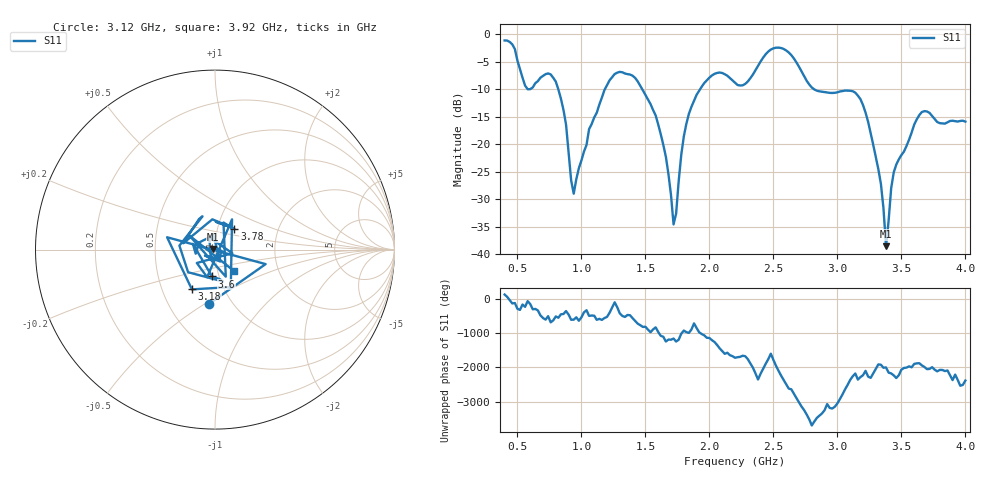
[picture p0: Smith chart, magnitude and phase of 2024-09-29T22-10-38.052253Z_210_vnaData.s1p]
!Created with skrf (http://scikit-rf.org).
# Hz S RI R 50.0
!freq ReS11 ImS11
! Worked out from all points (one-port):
!   181 points, 400 MHz to 4 GHz, reference 50 ohm
!   lowest |S11| = -38.5 dB at 3.38 GHz (marker M1), VSWR 1.02, Z = 48.9 + j0.362 ohm
!   |S11| at or under -10 dB: 819 MHz to 1.184 GHz (365.1 MHz wide, 36.5 % of centre); 1.475 GHz to 1.928 GHz (453.3 MHz wide, 26.6 % of centre); 2.816 GHz to end of sweep (the widest 3 of 4)
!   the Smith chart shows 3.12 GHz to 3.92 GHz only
!   S11 on the Smith chart (normalised r, x): 3.12 GHz: 0.79, -0.52; 3.18 GHz: 0.71, -0.33; 3.6 GHz: 0.93, -0.28; 3.78 GHz: 1.20, +0.29; 3.92 GHz: 1.20, -0.30
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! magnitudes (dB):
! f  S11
! 400 MHz  -1.2
! 580 MHz  -10.0
! 760 MHz  -7.3
! 860 MHz  -13.8
! 940 MHz  -29.0
! 1.06 GHz  -17.3
! 1.3 GHz  -6.9
! 1.58 GHz  -14.8
! 1.66 GHz  -22.3
! 1.72 GHz  -34.6
! 1.76 GHz  -26.7
! 1.82 GHz  -16.3
! 1.9 GHz  -11.0
! 2.2 GHz  -8.8
! 2.5 GHz  -2.6
! 2.66 GHz  -4.4
! 2.82 GHz  -10.1
! 3.1 GHz  -10.3
! 3.12 GHz  -10.4
! 3.18 GHz  -11.8
! 3.34 GHz  -27.2
! 3.38 GHz  -38.5
! 3.44 GHz  -25.1
! 3.56 GHz  -19.2
! 3.6 GHz  -16.4
! 3.78 GHz  -16.0
! 3.92 GHz  -15.8
! 4 GHz  -15.9
